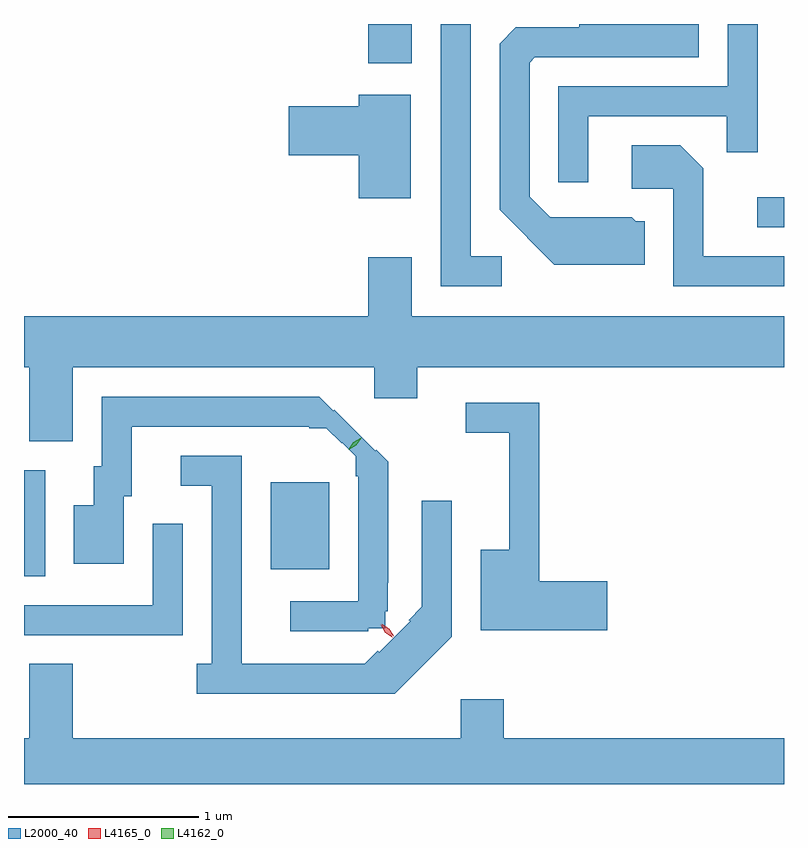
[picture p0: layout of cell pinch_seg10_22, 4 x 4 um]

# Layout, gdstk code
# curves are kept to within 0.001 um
import gdstk
lib = gdstk.Library(unit=1e-6, precision=1e-09)
def R(c, l, rs):  # rectangles x0, y0, x1, y1
    for r in rs: c.add(gdstk.rectangle(r[:2], r[2:], *l))
def P(c, l, *ps):  # polygons
    for p in ps: c.add(gdstk.Polygon(p, *l))
L2000_40 = (2000, 40)
L4162_0 = (4162, 0)
L4165_0 = (4165, 0)

pinch_seg10_22 = lib.new_cell('pinch_seg10_22')
R(pinch_seg10_22, L2000_40, [(605.733,2154.996,605.844,2155.554), (607.031,2155.031,607.339,2155.489), (609.593,2156.831,609.733,2156.989), (607.546,2157.696,607.774,2157.902)])
P(pinch_seg10_22, L2000_40, [(608.704,2157.416),(609.431,2157.416),(609.431,2157.228),(609.594,2157.228),(609.594,2157.902),(609.436,2157.902),(609.436,2157.574),(608.546,2157.574),(608.546,2157.068),(608.704,2157.068)],
  [(608.999,2156.864),(608.952,2156.864),(608.932,2156.884),(608.502,2156.884),(608.394,2156.992),(608.394,2157.699),(608.422,2157.726),(609.284,2157.726),(609.284,2157.902),(608.656,2157.902),(608.656,2157.884),(608.322,2157.884),(608.236,2157.799),(608.236,2156.924),(608.524,2156.636),(608.999,2156.636)],
  [(608.248,2156.679),(608.084,2156.679),(608.084,2157.902),(607.926,2157.902),(607.926,2156.521),(608.248,2156.521)],
  [(607.769,2157.529),(607.496,2157.529),(607.496,2157.469),(607.126,2157.469),(607.126,2157.211),(607.496,2157.211),(607.496,2156.986),(607.769,2156.986)],
  [(609.733,2156.679),(609.309,2156.679),(609.309,2157.142),(609.187,2157.264),(608.931,2157.264),(608.931,2157.036),(609.151,2157.036),(609.151,2156.521),(609.733,2156.521)],
  [(605.989,2156.096),(607.576,2156.096),(607.576,2155.931),(607.804,2155.931),(607.804,2156.096),(609.733,2156.096),(609.733,2156.364),(607.774,2156.364),(607.774,2156.674),(607.546,2156.674),(607.546,2156.364),(605.733,2156.364),(605.733,2156.096),(605.761,2156.096),(605.761,2155.706),(605.989,2155.706)],
  [(607.395,2154.707),(607.545,2154.707),(607.545,2154.723),(607.633,2154.723),(607.633,2154.81),(607.648,2154.81),(607.649,2155.598),(607.587,2155.66),(607.581,2155.655),(607.365,2155.871),(607.36,2155.867),(607.288,2155.939),(606.141,2155.939),(606.141,2155.574),(606.101,2155.574),(606.101,2155.369),(605.996,2155.369),(605.996,2155.061),(606.259,2155.061),(606.259,2155.416),(606.299,2155.416),(606.299,2155.781),(607.233,2155.781),(607.233,2155.774),(607.325,2155.774),(607.405,2155.695),(607.407,2155.697),(607.478,2155.627),(607.478,2155.523),(607.491,2155.523),(607.491,2154.864),(607.133,2154.864),(607.133,2154.706)],
  [(608.804,2154.969),(608.444,2154.969),(608.444,2155.909),(608.058,2155.909),(608.058,2155.751),(608.286,2155.751),(608.286,2155.134),(608.136,2155.134),(608.136,2154.711),(608.804,2154.711)],
  [(607.984,2154.677),(607.984,2155.393),(607.826,2155.393),(607.826,2154.834),(607.757,2154.765),(607.765,2154.758),(607.602,2154.596),(607.595,2154.603),(607.526,2154.534),(606.879,2154.534),(606.879,2155.629),(606.558,2155.629),(606.558,2155.471),(606.721,2155.471),(606.721,2154.534),(606.643,2154.534),(606.643,2154.376),(607.684,2154.376)],
  [(606.569,2155.273),(606.411,2155.273),(606.411,2154.844),(605.733,2154.844),(605.733,2154.686),(606.569,2154.686)],
  [(609.733,2154.144),(608.259,2154.144),(608.259,2154.349),(608.031,2154.349),(608.031,2154.144),(605.989,2154.144),(605.989,2154.534),(605.761,2154.534),(605.761,2154.144),(605.733,2154.144),(605.733,2153.902),(609.733,2153.902)])
P(pinch_seg10_22, L4162_0, [(607.442,2155.662),(607.442,2155.663),(607.468,2155.7),(607.508,2155.724),(607.509,2155.724),(607.509,2155.723),(607.482,2155.686),(607.442,2155.662)],
  [(607.445,2155.668),(607.445,2155.668),(607.467,2155.702),(607.502,2155.722),(607.503,2155.722),(607.503,2155.721),(607.481,2155.687),(607.446,2155.668)])
P(pinch_seg10_22, L4165_0, [(607.673,2154.671),(607.634,2154.699),(607.61,2154.739),(607.61,2154.74),(607.61,2154.74),(607.649,2154.712),(607.674,2154.672),(607.674,2154.671)],
  [(607.678,2154.68),(607.641,2154.705),(607.617,2154.743),(607.617,2154.744),(607.618,2154.744),(607.655,2154.719),(607.679,2154.681),(607.679,2154.68)])

lib.write_gds('pinch_seg10_22.gds')
